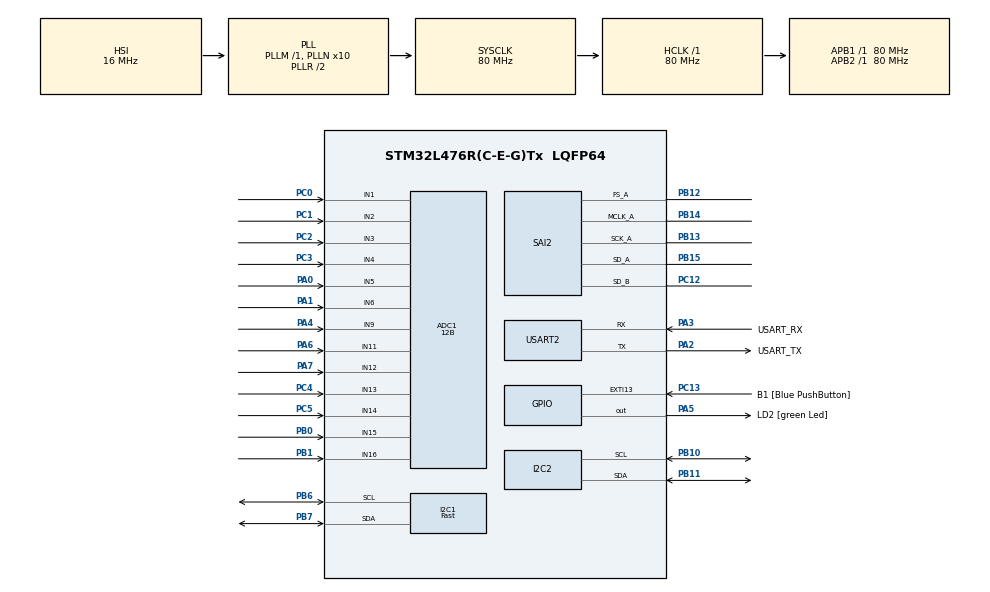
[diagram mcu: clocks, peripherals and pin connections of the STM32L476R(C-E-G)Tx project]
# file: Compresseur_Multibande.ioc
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ADC1.Channel-0\#ChannelRegularConversion=ADC_CHANNEL_1
ADC1.Channel-1\#ChannelRegularConversion=ADC_CHANNEL_2
ADC1.Channel-10\#ChannelRegularConversion=ADC_CHANNEL_14
ADC1.Channel-11\#ChannelRegularConversion=ADC_CHANNEL_15
ADC1.Channel-12\#ChannelRegularConversion=ADC_CHANNEL_16
ADC1.Channel-2\#ChannelRegularConversion=ADC_CHANNEL_3
ADC1.Channel-3\#ChannelRegularConversion=ADC_CHANNEL_4
ADC1.Channel-4\#ChannelRegularConversion=ADC_CHANNEL_5
ADC1.Channel-5\#ChannelRegularConversion=ADC_CHANNEL_6
ADC1.Channel-6\#ChannelRegularConversion=ADC_CHANNEL_9
ADC1.Channel-7\#ChannelRegularConversion=ADC_CHANNEL_11
ADC1.Channel-8\#ChannelRegularConversion=ADC_CHANNEL_12
ADC1.Channel-9\#ChannelRegularConversion=ADC_CHANNEL_13
ADC1.ContinuousConvMode=ENABLE
ADC1.DMAContinuousRequests=DISABLE
ADC1.EOCSelection=ADC_EOC_SEQ_CONV
ADC1.ExternalTrigConv=ADC_EXTERNALTRIG_T1_TRGO
ADC1.NbrOfConversion=13
ADC1.NbrOfConversionFlag=1
ADC1.OffsetNumber-0\#ChannelRegularConversion=ADC_OFFSET_NONE
ADC1.OffsetNumber-1\#ChannelRegularConversion=ADC_OFFSET_NONE
ADC1.OffsetNumber-10\#ChannelRegularConversion=ADC_OFFSET_NONE
ADC1.OffsetNumber-11\#ChannelRegularConversion=ADC_OFFSET_NONE
ADC1.OffsetNumber-12\#ChannelRegularConversion=ADC_OFFSET_NONE
ADC1.OffsetNumber-2\#ChannelRegularConversion=ADC_OFFSET_NONE
ADC1.OffsetNumber-3\#ChannelRegularConversion=ADC_OFFSET_NONE
ADC1.OffsetNumber-4\#ChannelRegularConversion=ADC_OFFSET_NONE
ADC1.OffsetNumber-5\#ChannelRegularConversion=ADC_OFFSET_NONE
ADC1.OffsetNumber-6\#ChannelRegularConversion=ADC_OFFSET_NONE
ADC1.OffsetNumber-7\#ChannelRegularConversion=ADC_OFFSET_NONE
ADC1.OffsetNumber-8\#ChannelRegularConversion=ADC_OFFSET_NONE
ADC1.OffsetNumber-9\#ChannelRegularConversion=ADC_OFFSET_NONE
ADC1.Rank-0\#ChannelRegularConversion=1
ADC1.Rank-1\#ChannelRegularConversion=2
ADC1.Rank-10\#ChannelRegularConversion=11
ADC1.Rank-11\#ChannelRegularConversion=12
ADC1.Rank-12\#ChannelRegularConversion=13
ADC1.Rank-2\#ChannelRegularConversion=3
ADC1.Rank-3\#ChannelRegularConversion=4
ADC1.Rank-4\#ChannelRegularConversion=5
ADC1.Rank-5\#ChannelRegularConversion=6
ADC1.Rank-6\#ChannelRegularConversion=7
ADC1.Rank-7\#ChannelRegularConversion=8
ADC1.Rank-8\#ChannelRegularConversion=9
ADC1.Rank-9\#ChannelRegularConversion=10
ADC1.Resolution=ADC_RESOLUTION_12B
ADC1.SamplingTime-0\#ChannelRegularConversion=ADC_SAMPLETIME_12CYCLES_5
ADC1.SamplingTime-1\#ChannelRegularConversion=ADC_SAMPLETIME_2CYCLES_5
ADC1.SamplingTime-10\#ChannelRegularConversion=ADC_SAMPLETIME_2CYCLES_5
ADC1.SamplingTime-11\#ChannelRegularConversion=ADC_SAMPLETIME_2CYCLES_5
ADC1.SamplingTime-12\#ChannelRegularConversion=ADC_SAMPLETIME_2CYCLES_5
ADC1.SamplingTime-2\#ChannelRegularConversion=ADC_SAMPLETIME_2CYCLES_5
ADC1.SamplingTime-3\#ChannelRegularConversion=ADC_SAMPLETIME_2CYCLES_5
ADC1.SamplingTime-4\#ChannelRegularConversion=ADC_SAMPLETIME_2CYCLES_5
ADC1.SamplingTime-5\#ChannelRegularConversion=ADC_SAMPLETIME_2CYCLES_5
ADC1.SamplingTime-6\#ChannelRegularConversion=ADC_SAMPLETIME_2CYCLES_5
ADC1.SamplingTime-7\#ChannelRegularConversion=ADC_SAMPLETIME_2CYCLES_5
ADC1.SamplingTime-8\#ChannelRegularConversion=ADC_SAMPLETIME_2CYCLES_5
ADC1.SamplingTime-9\#ChannelRegularConversion=ADC_SAMPLETIME_2CYCLES_5
ADC1.master=1
Dma.ADC1.0.Direction=DMA_PERIPH_TO_MEMORY
Dma.ADC1.0.Instance=DMA1_Channel1
Dma.ADC1.0.MemDataAlignment=DMA_MDATAALIGN_HALFWORD
Dma.ADC1.0.MemInc=DMA_MINC_ENABLE
Dma.ADC1.0.Mode=DMA_NORMAL
Dma.ADC1.0.PeriphDataAlignment=DMA_PDATAALIGN_HALFWORD
Dma.ADC1.0.PeriphInc=DMA_PINC_DISABLE
Dma.ADC1.0.Priority=DMA_PRIORITY_LOW
Dma.Request0=ADC1
Dma.Request1=SAI2_A
Dma.Request2=SAI2_B
Dma.SAI2_A.1.Direction=DMA_MEMORY_TO_PERIPH
Dma.SAI2_A.1.Instance=DMA1_Channel6
Dma.SAI2_A.1.MemDataAlignment=DMA_MDATAALIGN_HALFWORD
Dma.SAI2_A.1.MemInc=DMA_MINC_ENABLE
Dma.SAI2_A.1.Mode=DMA_CIRCULAR
Dma.SAI2_A.1.PeriphDataAlignment=DMA_PDATAALIGN_HALFWORD
Dma.SAI2_A.1.PeriphInc=DMA_PINC_DISABLE
Dma.SAI2_A.1.Priority=DMA_PRIORITY_HIGH
Dma.SAI2_B.2.Direction=DMA_PERIPH_TO_MEMORY
Dma.SAI2_B.2.Instance=DMA1_Channel7
Dma.SAI2_B.2.MemDataAlignment=DMA_MDATAALIGN_HALFWORD
Dma.SAI2_B.2.MemInc=DMA_MINC_ENABLE
Dma.SAI2_B.2.Mode=DMA_CIRCULAR
Dma.SAI2_B.2.PeriphDataAlignment=DMA_PDATAALIGN_HALFWORD
Dma.SAI2_B.2.PeriphInc=DMA_PINC_DISABLE
Dma.SAI2_B.2.Priority=DMA_PRIORITY_HIGH
I2C1.I2C_Speed_Mode=I2C_Fast
I2C1.Timing=0x00702991
I2C2.Timing=0x10909CEC
Mcu.Family=STM32L4
Mcu.Name=STM32L476R(C-E-G)Tx
Mcu.Package=LQFP64
NVIC.ADC1_2_IRQn=true\:0\:0\:false\:false\:true\:true\:true\:true
NVIC.DMA1_Channel1_IRQn=true\:0\:0\:false\:false\:true\:false\:true\:true
NVIC.DMA1_Channel6_IRQn=true\:0\:0\:false\:false\:true\:false\:true\:true
NVIC.DMA1_Channel7_IRQn=true\:0\:0\:false\:false\:true\:false\:true\:true
NVIC.PriorityGroup=NVIC_PRIORITYGROUP_4
NVIC.SAI2_IRQn=true\:0\:0\:false\:false\:true\:true\:true\:true
NVIC.TIM1_BRK_TIM15_IRQn=true\:0\:0\:false\:false\:true\:true\:true\:true
NVIC.TIM1_CC_IRQn=true\:0\:0\:false\:false\:true\:true\:true\:true
NVIC.TIM1_TRG_COM_TIM17_IRQn=true\:0\:0\:false\:false\:true\:true\:true\:true
NVIC.TIM1_UP_TIM16_IRQn=true\:0\:0\:false\:false\:true\:true\:true\:true
PA0.Signal=ADCx_IN5
PA1.Signal=ADCx_IN6
PA13\ (JTMS-SWDIO).GPIO_Label=TMS
PA13\ (JTMS-SWDIO).Mode=Serial_Wire
PA13\ (JTMS-SWDIO).Signal=SYS_JTMS-SWDIO
PA14\ (JTCK-SWCLK).GPIO_Label=TCK
PA14\ (JTCK-SWCLK).Mode=Serial_Wire
PA14\ (JTCK-SWCLK).Signal=SYS_JTCK-SWCLK
PA2.GPIO_Label=USART_TX
PA2.GPIO_Mode=GPIO_MODE_AF_PP
PA2.GPIO_PuPd=GPIO_NOPULL
PA2.GPIO_Speed=GPIO_SPEED_FREQ_VERY_HIGH
PA2.Mode=Asynchronous
PA2.Signal=USART2_TX
PA3.GPIO_Label=USART_RX
PA3.GPIO_Mode=GPIO_MODE_AF_PP
PA3.GPIO_PuPd=GPIO_NOPULL
PA3.GPIO_Speed=GPIO_SPEED_FREQ_VERY_HIGH
PA3.Mode=Asynchronous
PA3.Signal=USART2_RX
PA4.Signal=ADCx_IN9
PA5.GPIO_Label=LD2 [green Led]
PA5.GPIO_ModeDefaultOutputPP=GPIO_MODE_OUTPUT_PP
PA5.GPIO_PuPd=GPIO_NOPULL
PA5.GPIO_Speed=GPIO_SPEED_FREQ_LOW
PA5.Signal=GPIO_Output
PA6.Signal=ADCx_IN11
PA7.Signal=ADCx_IN12
PB0.Signal=ADCx_IN15
PB1.Signal=ADCx_IN16
PB10.Mode=I2C
PB10.Signal=I2C2_SCL
PB11.Mode=I2C
PB11.Signal=I2C2_SDA
PB12.Mode=SAI_A_MasterWithClock
PB12.Signal=SAI2_FS_A
PB13.Mode=SAI_A_MasterWithClock
PB13.Signal=SAI2_SCK_A
PB14.Mode=SAI_A_MasterWithClock
PB14.Signal=SAI2_MCLK_A
PB15.Mode=SAI_A_MasterWithClock
PB15.Signal=SAI2_SD_A
PB3\ (JTDO-TRACESWO).GPIO_Label=SWO
PB3\ (JTDO-TRACESWO).Signal=SYS_JTDO-SWO
PB6.Mode=I2C
PB6.Signal=I2C1_SCL
PB7.Mode=I2C
PB7.Signal=I2C1_SDA
PC0.Signal=ADCx_IN1
PC1.Signal=ADCx_IN2
PC12.Mode=SAI_B_SyncSlave
PC12.Signal=SAI2_SD_B
PC13.GPIO_Label=B1 [Blue PushButton]
PC13.GPIO_ModeDefaultEXTI=GPIO_MODE_IT_FALLING
PC13.GPIO_PuPd=GPIO_NOPULL
PC13.Signal=GPXTI13
PC14-OSC32_IN\ (PC14).Mode=LSE-External-Oscillator
PC14-OSC32_IN\ (PC14).Signal=RCC_OSC32_IN
PC15-OSC32_OUT\ (PC15).Mode=LSE-External-Oscillator
PC15-OSC32_OUT\ (PC15).Signal=RCC_OSC32_OUT
PC2.Signal=ADCx_IN3
PC3.Signal=ADCx_IN4
PC4.Signal=ADCx_IN13
PC5.Signal=ADCx_IN14
PH0-OSC_IN\ (PH0).Signal=RCC_OSC_IN
PH1-OSC_OUT\ (PH1).Signal=RCC_OSC_OUT
ProjectManager.HeapSize=0x200
ProjectManager.StackSize=0x400
ProjectManager.TargetToolchain=STM32CubeIDE
RCC.ADCCLockSelection=RCC_ADCCLKSOURCE_SYSCLK
RCC.ADCFreq_Value=80000000
RCC.AHBFreq_Value=80000000
RCC.APB1Freq_Value=80000000
RCC.APB1TimFreq_Value=80000000
RCC.APB2Freq_Value=80000000
RCC.APB2TimFreq_Value=80000000
RCC.CortexFreq_Value=80000000
RCC.HCLKFreq_Value=80000000
RCC.HSE_VALUE=8000000
RCC.HSI_VALUE=16000000
RCC.MSI_VALUE=4000000
RCC.PLLN=10
RCC.PLLSAI1N=11
RCC.PLLSourceVirtual=RCC_PLLSOURCE_HSI
RCC.PREFETCH_ENABLE=1
RCC.SYSCLKFreq_VALUE=80000000
RCC.SYSCLKSource=RCC_SYSCLKSOURCE_PLLCLK
RCC.USBFreq_Value=88000000
RCC.VCOOutputFreq_Value=160000000
SAI2.AudioFrequency-SAI_A_MasterWithClock=SAI_AUDIO_FREQUENCY_48K
SAI2.AudioMode-SAI_A_MasterWithClock=SAI_MODEMASTER_TX
SAI2.AudioMode-SAI_B_SyncSlave=SAI_MODESLAVE_RX
SAI2.ErrorAudioFreq-SAI_A_MasterWithClock=2.3 %
SAI2.InitProtocol-SAI_A_MasterWithClock=Enable
SAI2.InitProtocol-SAI_B_SyncSlave=Enable
SAI2.Instance-SAI_A_MasterWithClock=SAI$Index_Block_A
SAI2.Instance-SAI_B_SyncSlave=SAI$Index_Block_B
SAI2.MClockEnable-SAI_A_MasterWithClock=SAI_MASTERCLOCK_ENABLE
SAI2.RealAudioFreq-SAI_A_MasterWithClock=49.107 KHz
SAI2.VirtualMode-SAI_A_MasterWithClock=VM_MASTER
SAI2.VirtualMode-SAI_B_SyncSlave=VM_SLAVE
SAI2.VirtualProtocol-SAI_A_BASIC=VM_BASIC_PROTOCOL
SAI2.VirtualProtocol-SAI_B_BASIC=VM_BASIC_PROTOCOL
SH.ADCx_IN1.0=ADC1_IN1,IN1-Single-Ended
SH.ADCx_IN11.0=ADC1_IN11,IN11-Single-Ended
SH.ADCx_IN12.0=ADC1_IN12,IN12-Single-Ended
SH.ADCx_IN13.0=ADC1_IN13,IN13-Single-Ended
SH.ADCx_IN14.0=ADC1_IN14,IN14-Single-Ended
SH.ADCx_IN15.0=ADC1_IN15,IN15-Single-Ended
SH.ADCx_IN16.0=ADC1_IN16,IN16-Single-Ended
SH.ADCx_IN2.0=ADC1_IN2,IN2-Single-Ended
SH.ADCx_IN3.0=ADC1_IN3,IN3-Single-Ended
SH.ADCx_IN4.0=ADC1_IN4,IN4-Single-Ended
SH.ADCx_IN5.0=ADC1_IN5,IN5-Single-Ended
SH.ADCx_IN6.0=ADC1_IN6,IN6-Single-Ended
SH.ADCx_IN9.0=ADC1_IN9,IN9-Single-Ended
TIM1.TIM_MasterOutputTrigger=TIM_TRGO_UPDATE
TIM1.TIM_MasterOutputTrigger2=TIM_TRGO2_UPDATE
TIM1.TIM_MasterSlaveMode=TIM_MASTERSLAVEMODE_DISABLE
USART2.VirtualMode-Asynchronous=VM_ASYNC
VP_SAI2_VP_$IpInstance_SAIA_SAI_BASIC.Mode=SAI_A_BASIC
VP_SAI2_VP_$IpInstance_SAIB_SAI_BASIC.Mode=SAI_B_BASIC
VP_TIM1_VS_ClockSourceINT.Mode=Internal
board=NUCLEO-L476RG

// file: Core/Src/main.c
/* USER CODE BEGIN Header */
/**
  ******************************************************************************
  * @file           : main.c
  * @brief          : Main program body
  ******************************************************************************
  * @attention
  *
  * Copyright (c) 2024 STMicroelectronics.
  * All rights reserved.
  *
  * This software is licensed under terms that can be found in the LICENSE file
  * in the root directory of this software component.
  * If no LICENSE file comes with this software, it is provided AS-IS.
  *
  ******************************************************************************
  */
/* USER CODE END Header */
#include "main.h"
#include "adc.h"
#include "dma.h"
#include "i2c.h"
#include "sai.h"
#include "tim.h"
#include "usart.h"
#include "gpio.h"

/* USER CODE BEGIN Includes */
#include <stdio.h>
#include "RCFilter.h"
#include <string.h>
#include "sgtl5000.h"
#include "kiss_fftr.h"
#include "oledprint.h"
#include "math.h"
/* USER CODE END Includes */

/* USER CODE BEGIN PD */
#define SAI_TX_BUFFER_LENGTH 128
#define SAI_RX_BUFFER_LENGTH 128
#define N_FFT 128  // Number of FFT points
#define OUTPUT_MAX 64.0f  // Desired maximum output value
#define UCHAR_MAX 255.0f  // Maximum value for unsigned char
/* USER CODE END PD */

/* USER CODE BEGIN PV */
uint8_t uart2_data;
volatile uint16_t adcResultsDMA[13];
const int adcChannelCount = sizeof(adcResultsDMA) / sizeof(adcResultsDMA[0]);
volatile int adcConversionComplete = 0;
uint8_t textLenght;
h_RC_filter_t HPF;
h_RC_filter_t LPF;
static int16_t sai_tx_buffer[SAI_TX_BUFFER_LENGTH];
static int16_t sai_rx_buffer[SAI_RX_BUFFER_LENGTH];
unsigned char * FFT_array;
int CutoffFreq;
float gain_input;
float gain_output;
unsigned char output_magnitude[N_FFT/2 + 1];
/* USER CODE END PV */

void SystemClock_Config(void);
void PeriphCommonClock_Config(void);

/* USER CODE BEGIN 0 */
void HAL_ADC_ConvCpltCallback(ADC_HandleTypeDef* hadc){

adcConversionComplete = 1;

}
int _write(int file, char *ptr, int len)
{
	HAL_UART_Transmit(&huart2, (uint8_t *)ptr, (uint16_t)len, HAL_MAX_DELAY);
	return len;
}
// Interruptions
void HAL_UART_RxCpltCallback(UART_HandleTypeDef* uart){
	HAL_UART_Transmit(&huart2, &uart2_data, 1, HAL_MAX_DELAY);
	HAL_UART_Receive_IT(&huart2, &uart2_data, 1);
}
// Réception de données sur le SAI
static int rx_cplt_flag = 0;

void HAL_SAI_RxCpltCallback(SAI_HandleTypeDef *hsai)
{
	//printf("interruption sai\n");
	if (SAI2_Block_B == hsai->Instance)
	{
		rx_cplt_flag = 1;
	}
}
void HAL_SAI_RxHalfCpltCallback(SAI_HandleTypeDef *hsai){
	//printf("RX half callback.\n");
}
void HAL_SAI_TxCpltCallback(SAI_HandleTypeDef *hsai)
{
	if (SAI2_Block_A == hsai->Instance)
	{
		//printf("SAI interrupt TX.\n");
	}
}
void compute_fft(const int16_t *input, unsigned char *output_magnitude) {
    kiss_fftr_cfg cfg = kiss_fftr_alloc(N_FFT, 0, NULL, NULL);

    if (!cfg) {
        printf("Not enough memory for FFT configuration\n");
        return;
    }

    // Allocate memory for input and output
    kiss_fft_scalar in[N_FFT];
    kiss_fft_cpx out[N_FFT/2 + 1];

    // Convert int16_t input to kiss_fft_scalar (float)
    for (int i = 0; i < N_FFT; i++) {
        in[i] = (kiss_fft_scalar)input[i];
    }

    // Perform the FFT
    kiss_fftr(cfg, in, out);

    // Calculate the magnitude of the FFT
    float max_magnitude = 0.0f;
    float temp_magnitude[N_FFT/2 + 1];
    for (int i = 0; i <= N_FFT/2; i++) {
        temp_magnitude[i] = sqrtf(out[i].r * out[i].r + out[i].i * out[i].i);
        if (temp_magnitude[i] > max_magnitude) {
            max_magnitude = temp_magnitude[i];
        }
    }

    // Normalize and scale the magnitudes to the range 0 to 255
    if (max_magnitude > 0.0f) {
        for (int i = 0; i <= N_FFT/2; i++) {
            // Normalize to 0 to 64
            float normalized = (temp_magnitude[i] / max_magnitude) * OUTPUT_MAX;
            // Scale to 0 to 255
            output_magnitude[i] = (unsigned char)((normalized / OUTPUT_MAX) * UCHAR_MAX);
        }
    } else {
        // If max_magnitude is zero, set all outputs to zero
        for (int i = 0; i <= N_FFT/2; i++) {
            output_magnitude[i] = 0;
        }
    }

    // Free the FFT configuration
    free(cfg);
}
/* USER CODE END 0 */

int main(void)
{

  /* MCU Configuration--------------------------------------------------------*/

  /* Reset of all peripherals, Initializes the Flash interface and the Systick. */
  HAL_Init();

  /* Configure the system clock */
  SystemClock_Config();

/* Configure the peripherals common clocks */
  PeriphCommonClock_Config();

  /* Initialize all configured peripherals */
  MX_GPIO_Init();
  MX_DMA_Init();
  MX_USART2_UART_Init();
  MX_ADC1_Init();
  MX_TIM1_Init();
  MX_SAI2_Init();
  MX_I2C2_Init();
  MX_I2C1_Init();
  /* USER CODE BEGIN 2 */
  HAL_UART_Receive_IT(&huart2, &uart2_data, 1);
  printf("\n-----------------------------------\nDemarrage du programme.\r\n");
  printf("Initialisation du SAI...\r\n");
  __HAL_SAI_ENABLE(&hsai_BlockA2);
  __HAL_SAI_ENABLE(&hsai_BlockB2);
  //printf("Initalisation de l'afficheur OLED...\r\n");
  //initOled();
  printf("Initialisation du codec\r\n");

  HAL_StatusTypeDef ret;
  uint16_t data;
  uint16_t sgtl_address = 0x14;

  h_sgtl5000_t h_sgtl5000;
  h_sgtl5000.hi2c = &hi2c2;
  h_sgtl5000.dev_address = sgtl_address;

  ret = sgtl5000_init(&h_sgtl5000);
  if (ret != HAL_OK){
	  printf("SGTL INIT ERROR. \n");
	  Error_Handler();
  }
  ret = sgtl5000_i2c_read_register(&h_sgtl5000, SGTL5000_CHIP_ID, &data);

  if (ret != HAL_OK)
  	{
  		printf("HAL_I2C_Mem_Read error\n");
  		Error_Handler();
  	}
//  for (int i = 0 ; i < SAI_TX_BUFFER_LENGTH ; i++)
//  	{
//  		// Generate a sawtooth at 1kHz
//  		sai_tx_buffer[i] = i * (0xFFFF/SAI_TX_BUFFER_LENGTH);
//  	}
  ret = HAL_SAI_Receive_DMA(&hsai_BlockB2, (uint8_t*) sai_rx_buffer, SAI_RX_BUFFER_LENGTH);
  if(ret !=HAL_OK){
	  printf("Failed to start DMA on SAI Receive\n");
  }
  ret = HAL_SAI_Transmit_DMA(&hsai_BlockA2, (uint8_t*) sai_tx_buffer, SAI_TX_BUFFER_LENGTH);
  if(ret !=HAL_OK){
	  printf("Failed to start DMA on SAI Transmit\n");
  }
//  HAL_SAI_DisableRxMuteMode(&hsai_BlockA2);
  printf("SAI OK, initialisation du filtre...\n");
// Démarrage des filtres
  HPF_init(&HPF, 1000, 48000);
  LPF_init(&LPF, 1000, 48000);
  HAL_TIM_Base_Start(&htim1);

  /* USER CODE END 2 */

  /* Infinite loop */
  /* USER CODE BEGIN WHILE */
  while (1)
  {

	  HAL_ADC_Start_DMA(&hadc1, (uint32_t*)adcResultsDMA, adcChannelCount);
	  HAL_SAI_Receive_DMA(&hsai_BlockA2, (uint8_t*) sai_rx_buffer, SAI_RX_BUFFER_LENGTH);

	  while(adcConversionComplete  == 0){

		 	  }
	  adcConversionComplete = 0;
	  int i;
	  for (i=1; i<2; i++){
		  printf("Channel %d : %d\r\n", i, adcResultsDMA[i]);

		  HAL_Delay(100);
	  }
	  //printf("Audio buffer (RX) first value : %d\n\r", sai_rx_buffer[0]);
	  CutoffFreq = roundf(((adcResultsDMA[3] + 50)/4));
	  gain_input = adcResultsDMA[0]/4096; // Les potards varient de 0 à 4096 et on veut un gain entre 0 et 1
	  gain_output = adcResultsDMA[1]/4096;
	  //printf("gain output : %d\n", gain_output);
	  LPF_init(&LPF, CutoffFreq, 48000);
	  HPF_init(&HPF, CutoffFreq, 48000);
	  if (rx_cplt_flag == 1){
			for (int i = 0 ; i < SAI_RX_BUFFER_LENGTH ; i++)
			{
				// Gain en entrée
				sai_rx_buffer[i] = sai_rx_buffer[i]*gain_input;
				// Filtre
				sai_tx_buffer[i] = (uint16_t)HPF_update(&HPF, sai_rx_buffer[i]);
				sai_tx_buffer[i] = (uint16_t)LPF_update(&LPF, sai_tx_buffer[i]);
				// Gain en sortie
				sai_tx_buffer[i] = sai_tx_buffer[i]*gain_output;
			}
	  }
	  // On fait la FFT
	  compute_fft(sai_tx_buffer, output_magnitude);
	  printSpect(output_magnitude);
    /* USER CODE END WHILE */

    /* USER CODE BEGIN 3 */
//	 HAL_Delay(100);
  }
  /* USER CODE END 3 */
}

void SystemClock_Config(void)
{
  RCC_OscInitTypeDef RCC_OscInitStruct = {0};
  RCC_ClkInitTypeDef RCC_ClkInitStruct = {0};

  /** Configure the main internal regulator output voltage
  */
  if (HAL_PWREx_ControlVoltageScaling(PWR_REGULATOR_VOLTAGE_SCALE1) != HAL_OK)
  {
    Error_Handler();
  }

  /** Initializes the RCC Oscillators according to the specified parameters
  * in the RCC_OscInitTypeDef structure.
  */
  RCC_OscInitStruct.OscillatorType = RCC_OSCILLATORTYPE_HSI;
  RCC_OscInitStruct.HSIState = RCC_HSI_ON;
  RCC_OscInitStruct.HSICalibrationValue = RCC_HSICALIBRATION_DEFAULT;
  RCC_OscInitStruct.PLL.PLLState = RCC_PLL_ON;
  RCC_OscInitStruct.PLL.PLLSource = RCC_PLLSOURCE_HSI;
  RCC_OscInitStruct.PLL.PLLM = 1;
  RCC_OscInitStruct.PLL.PLLN = 10;
  RCC_OscInitStruct.PLL.PLLP = RCC_PLLP_DIV7;
  RCC_OscInitStruct.PLL.PLLQ = RCC_PLLQ_DIV2;
  RCC_OscInitStruct.PLL.PLLR = RCC_PLLR_DIV2;
  if (HAL_RCC_OscConfig(&RCC_OscInitStruct) != HAL_OK)
  {
    Error_Handler();
  }

  /** Initializes the CPU, AHB and APB buses clocks
  */
  RCC_ClkInitStruct.ClockType = RCC_CLOCKTYPE_HCLK|RCC_CLOCKTYPE_SYSCLK
                              |RCC_CLOCKTYPE_PCLK1|RCC_CLOCKTYPE_PCLK2;
  RCC_ClkInitStruct.SYSCLKSource = RCC_SYSCLKSOURCE_PLLCLK;
  RCC_ClkInitStruct.AHBCLKDivider = RCC_SYSCLK_DIV1;
  RCC_ClkInitStruct.APB1CLKDivider = RCC_HCLK_DIV1;
  RCC_ClkInitStruct.APB2CLKDivider = RCC_HCLK_DIV1;

  if (HAL_RCC_ClockConfig(&RCC_ClkInitStruct, FLASH_LATENCY_4) != HAL_OK)
  {
    Error_Handler();
  }
}

void PeriphCommonClock_Config(void)
{
  RCC_PeriphCLKInitTypeDef PeriphClkInit = {0};

  /** Initializes the peripherals clock
  */
  PeriphClkInit.PeriphClockSelection = RCC_PERIPHCLK_SAI2;
  PeriphClkInit.Sai2ClockSelection = RCC_SAI2CLKSOURCE_PLLSAI1;
  PeriphClkInit.PLLSAI1.PLLSAI1Source = RCC_PLLSOURCE_HSI;
  PeriphClkInit.PLLSAI1.PLLSAI1M = 1;
  PeriphClkInit.PLLSAI1.PLLSAI1N = 11;
  PeriphClkInit.PLLSAI1.PLLSAI1P = RCC_PLLP_DIV7;
  PeriphClkInit.PLLSAI1.PLLSAI1Q = RCC_PLLQ_DIV2;
  PeriphClkInit.PLLSAI1.PLLSAI1R = RCC_PLLR_DIV2;
  PeriphClkInit.PLLSAI1.PLLSAI1ClockOut = RCC_PLLSAI1_SAI1CLK;
  if (HAL_RCCEx_PeriphCLKConfig(&PeriphClkInit) != HAL_OK)
  {
    Error_Handler();
  }
}

void Error_Handler(void)
{
  __disable_irq();
  while (1)
  {
  }
}
